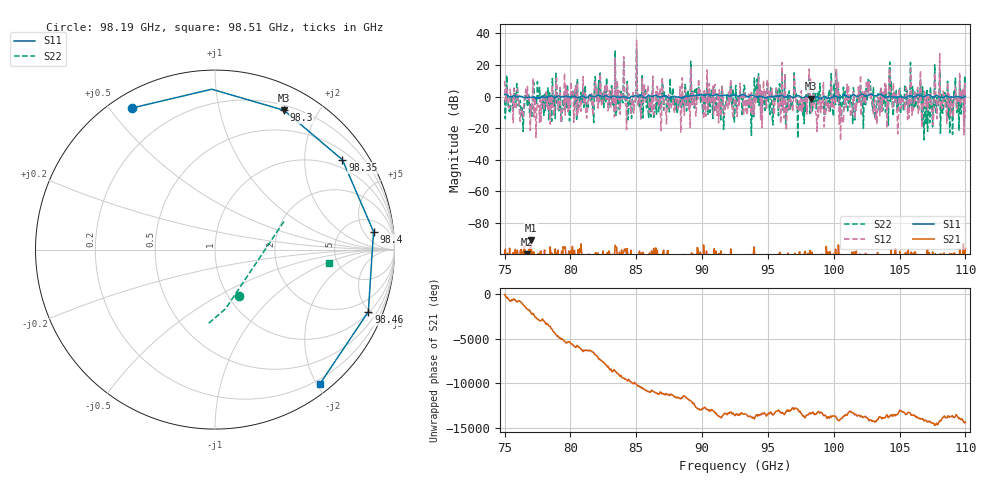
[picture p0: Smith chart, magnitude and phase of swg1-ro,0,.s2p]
!Created with skrf (http://scikit-rf.org).
# GHz S RI R 50.0
!freq ReS11 ImS11 ReS21 ImS21 ReS12 ImS12 ReS22 ImS22
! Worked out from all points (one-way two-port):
!   647 points, 75 GHz to 110 GHz, reference 50 ohm
!   highest |S21| = -90.91 dB at 77.01 GHz (marker M1); lowest = -131.7 dB at 76.68 GHz (marker M2)
!   lowest |S11| = -1.2 dB at 98.3 GHz (marker M3), VSWR 13.94, Z = 12.7 + j79.1 ohm
!   |S11| at or under -10 dB: nowhere
!   |S22| runs from -27.5 to 29.6 dB; largest |S21 - S12| = 59
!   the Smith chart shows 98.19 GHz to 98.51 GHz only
!   S11 on the Smith chart (normalised r, x): 98.19 GHz: 0.06, +0.57; 98.3 GHz: 0.25, +1.58; 98.35 GHz: 0.74, +2.99; 98.4 GHz: 9, +8; 98.46 GHz: 1.07, -4.91; 98.51 GHz: 0.13, -2.04
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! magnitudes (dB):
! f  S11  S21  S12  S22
! 75 GHz  1.3  -100.4  9.9  -1.9
! 76.3 GHz  0.0  -100.5  -9.2  -7.0
! 76.68 GHz  -0.5  -131.7  -1.2  0.0
! 77.01 GHz  -0.6  -90.9  -6.3  -7.5
! 80.85 GHz  0.3  -98.7  -1.7  -3.0
! 86.7 GHz  0.0  -112.1  -5.7  -9.7
! 92.5 GHz  0.9  -105.7  -2.6  -8.1
! 98.19 GHz  -0.8  -97.2  -0.9  -10.7
! 98.3 GHz  -1.2  -104.8  -10.1  -7.7
! 98.35 GHz  -1.2  -98.3  -2.4  -9.5
! 98.4 GHz  -1.0  -100.6  -5.6  -7.6
! 98.46 GHz  -0.7  -101.0  2.1  4.7
! 98.51 GHz  -0.4  -107.3  0.1  -3.9
! 100.2 GHz  0.2  -101.0  17.3  16.9
! 100.6 GHz  -0.4  -105.1  -6.9  -15.3
! 101 GHz  0.0  -105.3  7.8  -7.0
! 103.1 GHz  0.5  -110.6  -2.2  -14.1
! 104.2 GHz  -0.1  -101.6  15.3  13.1
! 106.5 GHz  1.0  -101.1  -8.3  1.4
! 107 GHz  0.4  -103.9  -6.5  -6.0
! 109.7 GHz  -0.7  -105.1  -1.4  -11.1
! 110 GHz  0.2  -96.2  -13.6  5.4
